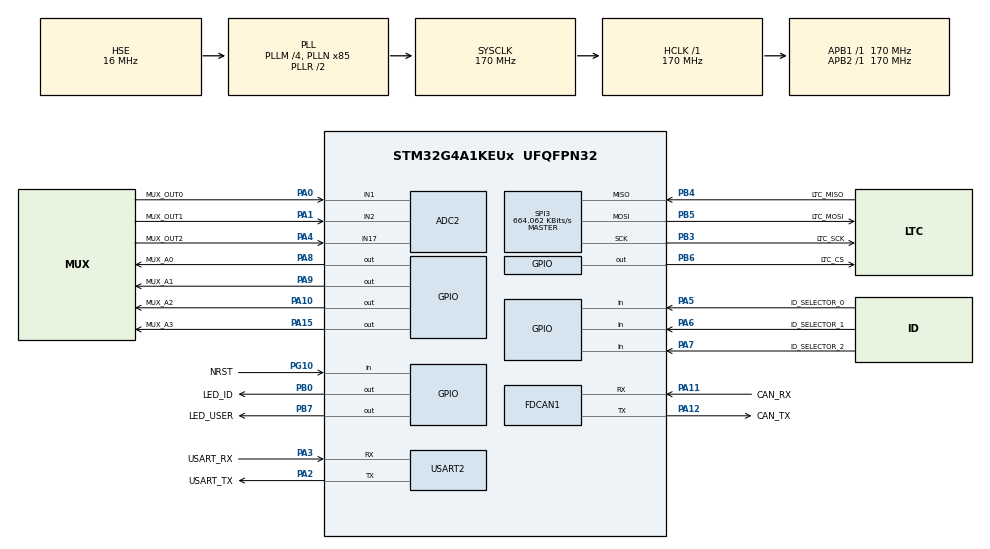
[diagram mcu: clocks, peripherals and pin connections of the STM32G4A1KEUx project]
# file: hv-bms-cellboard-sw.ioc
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ADC2.Channel-0\#ChannelRegularConversion=ADC_CHANNEL_1
ADC2.Channel-1\#ChannelRegularConversion=ADC_CHANNEL_2
ADC2.Channel-2\#ChannelRegularConversion=ADC_CHANNEL_17
ADC2.ClockPrescaler=ADC_CLOCK_ASYNC_DIV4
ADC2.EOCSelection=ADC_EOC_SEQ_CONV
ADC2.NbrOfConversion=3
ADC2.NbrOfConversionFlag=1
ADC2.OffsetNumber-0\#ChannelRegularConversion=ADC_OFFSET_NONE
ADC2.OffsetNumber-1\#ChannelRegularConversion=ADC_OFFSET_NONE
ADC2.OffsetNumber-2\#ChannelRegularConversion=ADC_OFFSET_NONE
ADC2.Rank-0\#ChannelRegularConversion=1
ADC2.Rank-1\#ChannelRegularConversion=2
ADC2.Rank-2\#ChannelRegularConversion=3
ADC2.SamplingTime-0\#ChannelRegularConversion=ADC_SAMPLETIME_12CYCLES_5
ADC2.SamplingTime-1\#ChannelRegularConversion=ADC_SAMPLETIME_12CYCLES_5
ADC2.SamplingTime-2\#ChannelRegularConversion=ADC_SAMPLETIME_12CYCLES_5
Dma.ADC2.0.Direction=DMA_PERIPH_TO_MEMORY
Dma.ADC2.0.EventEnable=DISABLE
Dma.ADC2.0.Instance=DMA1_Channel1
Dma.ADC2.0.MemDataAlignment=DMA_MDATAALIGN_HALFWORD
Dma.ADC2.0.MemInc=DMA_MINC_ENABLE
Dma.ADC2.0.Mode=DMA_CIRCULAR
Dma.ADC2.0.PeriphDataAlignment=DMA_PDATAALIGN_HALFWORD
Dma.ADC2.0.PeriphInc=DMA_PINC_DISABLE
Dma.ADC2.0.Polarity=HAL_DMAMUX_REQ_GEN_RISING
Dma.ADC2.0.Priority=DMA_PRIORITY_LOW
Dma.ADC2.0.RequestNumber=1
Dma.ADC2.0.SignalID=NONE
Dma.ADC2.0.SyncEnable=DISABLE
Dma.ADC2.0.SyncPolarity=HAL_DMAMUX_SYNC_NO_EVENT
Dma.ADC2.0.SyncRequestNumber=1
Dma.ADC2.0.SyncSignalID=NONE
Dma.Request0=ADC2
FDCAN1.CalculateBaudRateNominal=999999
FDCAN1.CalculateTimeBitNominal=1000
FDCAN1.CalculateTimeQuantumNominal=58.82352941176471
FDCAN1.DataPrescaler=5
FDCAN1.DataTimeSeg1=14
FDCAN1.DataTimeSeg2=2
FDCAN1.NominalPrescaler=5
FDCAN1.NominalTimeSeg1=14
FDCAN1.NominalTimeSeg2=2
FDCAN1.StdFiltersNbr=1
Mcu.Family=STM32G4
Mcu.Name=STM32G4A1KEUx
Mcu.Package=UFQFPN32
NVIC.DMA1_Channel1_IRQn=true\:0\:0\:false\:false\:true\:false\:true\:true
NVIC.FDCAN1_IT0_IRQn=true\:0\:0\:false\:false\:true\:true\:true\:true
NVIC.FDCAN1_IT1_IRQn=true\:0\:0\:false\:false\:true\:true\:true\:true
NVIC.PriorityGroup=NVIC_PRIORITYGROUP_4
NVIC.TIM7_IRQn=true\:0\:0\:false\:false\:true\:true\:true\:true
PA0.GPIO_Label=MUX_OUT0
PA0.Signal=SharedAnalog_PA0
PA1.GPIO_Label=MUX_OUT1
PA1.Signal=SharedAnalog_PA1
PA10.GPIO_Label=MUX_A2
PA10.Signal=GPIO_Output
PA11.GPIO_Label=CAN_RX
PA11.Mode=FDCAN_Activate
PA11.Signal=FDCAN1_RX
PA12.GPIO_Label=CAN_TX
PA12.Mode=FDCAN_Activate
PA12.Signal=FDCAN1_TX
PA13.Mode=Serial_Wire
PA13.Signal=SYS_JTMS-SWDIO
PA14.Mode=Serial_Wire
PA14.Signal=SYS_JTCK-SWCLK
PA15.GPIO_Label=MUX_A3
PA15.Signal=GPIO_Output
PA2.GPIO_Label=USART_TX
PA2.Mode=Asynchronous
PA2.Signal=USART2_TX
PA3.GPIO_Label=USART_RX
PA3.Mode=Asynchronous
PA3.Signal=USART2_RX
PA4.GPIO_Label=MUX_OUT2
PA4.Mode=IN17-Single-Ended
PA4.Signal=ADC2_IN17
PA5.GPIO_Label=ID_SELECTOR_0
PA5.Signal=GPIO_Input
PA6.GPIO_Label=ID_SELECTOR_1
PA6.Signal=GPIO_Input
PA7.GPIO_Label=ID_SELECTOR_2
PA7.Signal=GPIO_Input
PA8.GPIO_Label=MUX_A0
PA8.Signal=GPIO_Output
PA9.GPIO_Label=MUX_A1
PA9.Signal=GPIO_Output
PB0.GPIO_Label=LED_ID
PB0.Signal=GPIO_Output
PB3.GPIO_Label=LTC_SCK
PB3.Mode=Full_Duplex_Master
PB3.Signal=SPI3_SCK
PB4.GPIO_Label=LTC_MISO
PB4.Mode=Full_Duplex_Master
PB4.Signal=SPI3_MISO
PB5.GPIO_Label=LTC_MOSI
PB5.Mode=Full_Duplex_Master
PB5.Signal=SPI3_MOSI
PB6.GPIO_Label=LTC_CS
PB6.Signal=GPIO_Output
PB7.GPIO_Label=LED_USER
PB7.Signal=GPIO_Output
PF0-OSC_IN.Mode=HSE-External-Oscillator
PF0-OSC_IN.Signal=RCC_OSC_IN
PF1-OSC_OUT.Mode=HSE-External-Oscillator
PF1-OSC_OUT.Signal=RCC_OSC_OUT
PG10-NRST.GPIO_Label=NRST
PG10-NRST.GPIO_PuPd=GPIO_PULLUP
PG10-NRST.Signal=GPIO_Input
ProjectManager.HeapSize=0x200
ProjectManager.StackSize=0x400
ProjectManager.TargetToolchain=Makefile
RCC.ADC12Freq_Value=170000000
RCC.ADC345Freq_Value=170000000
RCC.AHBFreq_Value=170000000
RCC.APB1Freq_Value=170000000
RCC.APB1TimFreq_Value=170000000
RCC.APB2Freq_Value=170000000
RCC.APB2TimFreq_Value=170000000
RCC.CortexFreq_Value=170000000
RCC.EXTERNAL_CLOCK_VALUE=12288000
RCC.FDCANCLockSelection=RCC_FDCANCLKSOURCE_PLL
RCC.HCLKFreq_Value=170000000
RCC.HSE_VALUE=16000000
RCC.HSI48_VALUE=48000000
RCC.HSI_VALUE=16000000
RCC.LSE_VALUE=32768
RCC.PLLM=RCC_PLLM_DIV4
RCC.PLLN=85
RCC.PLLQ=RCC_PLLQ_DIV4
RCC.PLLSourceVirtual=RCC_PLLSOURCE_HSE
RCC.SYSCLKFreq_VALUE=170000000
RCC.SYSCLKSource=RCC_SYSCLKSOURCE_PLLCLK
RCC.USBFreq_Value=48000000
RCC.VCOOutputFreq_Value=340000000
SH.SharedAnalog_PA0.0=ADC1_IN1
SH.SharedAnalog_PA0.1=ADC2_IN1,IN1-Single-Ended
SH.SharedAnalog_PA1.0=ADC1_IN2
SH.SharedAnalog_PA1.1=ADC2_IN2,IN2-Single-Ended
SPI3.BaudRatePrescaler=SPI_BAUDRATEPRESCALER_256
SPI3.CLKPhase=SPI_PHASE_1EDGE
SPI3.CalculateBaudRate=664.062 KBits/s
SPI3.DataSize=SPI_DATASIZE_8BIT
SPI3.Direction=SPI_DIRECTION_2LINES
SPI3.Mode=SPI_MODE_MASTER
SPI3.VirtualType=VM_MASTER
TIM2.Channel-Output\ Compare1\ No\ Output=TIM_CHANNEL_1
TIM2.Prescaler=169
TIM6.Dithering=Disable
TIM7.PeriodNoDither=999
TIM7.Prescaler=169
USART2.VirtualMode-Asynchronous=VM_ASYNC
VP_SYS_VS_DBSignals.Mode=DisableDeadBatterySignals
VP_TIM2_VS_no_output1.Mode=Output Compare1 No Output
VP_TIM6_VS_ClockSourceINT.Mode=Enable_Timer
VP_TIM7_VS_ClockSourceINT.Mode=Enable_Timer
board=custom

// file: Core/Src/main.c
/* USER CODE BEGIN Header */
/**
  ******************************************************************************
  * @file           : main.c
  * @brief          : Main program body
  ******************************************************************************
  * @attention
  *
  * Copyright (c) 2024 STMicroelectronics.
  * All rights reserved.
  *
  * This software is licensed under terms that can be found in the LICENSE file
  * in the root directory of this software component.
  * If no LICENSE file comes with this software, it is provided AS-IS.
  *
  ******************************************************************************
  */
/* USER CODE END Header */
#include "main.h"
#include "adc.h"
#include "dma.h"
#include "fdcan.h"
#include "spi.h"
#include "stm32g4xx_hal.h"
#include "stm32g4xx_hal_gpio.h"
#include "tim.h"
#include "usart.h"
#include "gpio.h"

/* USER CODE BEGIN Includes */

#include <stdint.h>

#include <time.h>
#include "cellboard-conf.h"
#include "cellboard-def.h"
#include "fsm.h"
#include "stm32g4xx_it.h"
#include "post.h"
#include "eagletrt.h"

#include "temp-api.h"
#include "volt-api.h"
#include "can-communication.h"
#include "can-communication-router-api.h"

/* USER CODE END Includes */

void SystemClock_Config(void);
/* USER CODE BEGIN PFP */

void system_reset(void);

/* USER CODE END PFP */

/* USER CODE BEGIN 0 */

#ifdef CONF_DEMO_ENABLE

EAGLETRT_STATIC void demo() {
    // Put the cursor the start of the terminal
    usart_log("\033[H");

    time_t build_time = can_generation_time;
    constexpr size_t build_time_str_size = 30U;

    struct tm *tm_info = gmtime(&build_time);
    char build_time_str[build_time_str_size];
    strftime(build_time_str, sizeof(build_time_str), "%Y-%m-%d %H:%M:%S", tm_info);

    // Versioning info
    usart_log("                  --- BMS MANAGER DEMO ---\r\n");
    usart_log("Canlib version: ");
    usart_log(build_time_str);
    usart_log("\r\n");
    usart_log("Status: %s\r\n", fsm_state_names[fsm_get_status()]);
    usart_log("Cellboard ID: %d\r\n", gpio_get_cellboard_id());
    usart_log("Compilation date: %s %s\r\n", __DATE__, __TIME__);

    // Display cells voltages
    const cells_volt *const volt_values = volt_api_get_values();
    const size_t volt_cols = 6U;

    usart_log("                  --- VOLTAGE VALUES ---\r\n");
    usart_log("   ");
    for (size_t i = 0U; i < volt_cols; ++i) {
        usart_log("%5d  ", i + 1);
    }
    usart_log("\r\n");

    for (size_t i = 0U; i < CELLBOARD_SEGMENT_SERIES_COUNT / volt_cols; ++i) {
        usart_log("%3d", i * volt_cols);
        for (size_t j = 0U; j < volt_cols; ++j) {
            const size_t index = (i * volt_cols) + j;
            usart_log("%5.02f V", (*volt_values)[index]);
        }
        usart_log("\r\n");
    }
    usart_log("\r\n\r\n");

    // Display cells temperatures
    const cells_temp *const temp_values = temp_api_get_values();
    const size_t temp_cols = 6U;

    usart_log("                  --- TEMPERATURE VALUES ---\r\n");
    usart_log("   ");
    for (size_t i = 0U; i < temp_cols; ++i) {
        usart_log("%6d   ", i + 1);
    }
    usart_log("\r\n");
    for (size_t i = 0U; i < CELLBOARD_SEGMENT_TEMP_SENSOR_COUNT / temp_cols; ++i) {
        usart_log("%3d", i * temp_cols);
        for (size_t j = 0U; j < temp_cols; ++j) {
            const size_t index = (i * temp_cols) + j;
            usart_log("%6.02f °C", (*temp_values)[index]);
        }
        usart_log("\r\n");
    }
    usart_log("\r\n\r\n");

    // Display discharge temperatures
    const discharge_temp *discharge_temp_values = temp_api_get_discharge_values();

    usart_log("                  --- DISCHARGE TEMP VALUES ---\r\n");
    for (size_t i = 0U; i < CELLBOARD_SEGMENT_DISCHARGE_TEMP_COUNT; ++i) {
        usart_log("%7.02f °C", (*discharge_temp_values)[i]);
    }
    usart_log("\r\n\r\n");

    // Min Max voltage
    const volt v_min = volt_api_get_min();
    const volt v_max = volt_api_get_max();
    usart_log("                  --- VOLTAGE INFO ---\r\n");
    usart_log("Min: %.3f V\r\n", v_min);
    usart_log("Max: %.3f V\r\n", v_max);
    usart_log("Delta: %.3f V\r\n", v_max - v_min);
    usart_log("\r\n\r\n");

    // Min Max temperature
    const celsius t_min = temp_api_get_min();
    const celsius t_max = temp_api_get_max();
    usart_log("                  --- TEMPERATURE INFO ---\r\n");
    usart_log("Min: %.3f °C\r\n", t_min);
    usart_log("Max: %.3f °C\r\n", t_max);
    usart_log("\r\n\r\n");

    // Display open wire status
    usart_log("                  --- OPEN WIRE STATUS ---\r\n");

    constexpr size_t size = CELLBOARD_SEGMENT_SERIES_COUNT + 1;
    bit_flag32 open_wire_code = bms_manager_api_check_open_wire();
    usart_log("Open wire detected: %s\r\n", open_wire_code == 0U ? "NO " : "YES");
    usart_log("Cells with open wire: ");
    for (size_t i = 0U; i < size; ++i) {
        if (EAGLETRT_API_BIT_GET(open_wire_code, i)) {
            usart_log("%d  ", i);
        } else {
            usart_log("-  ");
        }
    }
    usart_log("\r\n");

#ifdef CONF_DEMO_DISCHARGE_ENABLE
    // Test discharge circuitry
    static bit_flag32 cells = 1U;
    static uint8_t cell_index = 0U;
    static uint32_t tick = 0U;
    constexpr uint32_t discharge_update_interval = 250;
    if (HAL_GetTick() - tick >= discharge_update_interval) {
        cell_index = (cell_index + 1) % CELLBOARD_SEGMENT_SERIES_COUNT;
        usart_log("Discharging cell: %d\r\n", cell_index);
        bms_manager_api_set_discharge_cells(cells);
        constexpr uint32_t cells_bit_mask = 0xFFFFFF;
        cells = (cells << 1U) & cells_bit_mask;
        if (cells == 0U) {
            cells = 1U;
        }
        tick = HAL_GetTick();
    }
#endif // CONF_DEMO_DISCHARGE_ENABLE
}

#endif // CONF_DEMO_ENABLE

#ifdef CONF_MANUAL_DISCHARGE_ENABLE

void cli_discharge(bool echo) {
    static char str[64];
    static uint8_t str_i = 0U;

    char c = usart_read(echo);
    if (c != '\0') {
        str[str_i++] = c;
    }

    if (c == '\r') {
        bit_flag32 bits = 0U;
        // parse bitmap of cells
        for (size_t i = 0; str[i] != '\r'; i++) {
            if (str[i] == '0' || str[i] == '1') {
                bits = EAGLETRT_API_BIT_TOGGLE_IF(bits, (str[i] - '0'), i);
            }
        }
        bms_manager_api_set_discharge_cells(bits);
        memset(str, 0, sizeof(str));
        str_i = 0U;
    }
}

#endif // CONF_MANUAL_DISCHARGE_ENABLE

/* USER CODE END 0 */

int main(void) {

    /* MCU Configuration--------------------------------------------------------*/

    /* Reset of all peripherals, Initializes the Flash interface and the Systick. */
    HAL_Init();

    /* Configure the system clock */
    SystemClock_Config();

    /* Initialize all configured peripherals */
    MX_GPIO_Init();
    MX_DMA_Init();
    MX_ADC2_Init();
    MX_FDCAN1_Init();
    MX_SPI3_Init();
    MX_USART2_UART_Init();
    MX_TIM6_Init();
    MX_TIM7_Init();
    MX_TIM2_Init();
    /* USER CODE BEGIN 2 */

#ifdef CONF_DEMO_ENABLE
    // Clear the screen
    usart_log("\033[2J");
#endif // CONF_DEMO_ENABLE

    /**
   * Start the timer used to increment the timebase internal counter
   */
    HAL_TIM_Base_Start_IT(&HTIM_TIMEBASE);

    fsm_state_t fsm_state = FSM_STATE_INIT;

    // Prepare data for the POST procedure
    struct PostInitData init_data = {
        .can_networks = {
            [CAN_COMMUNICATION_NETWORK_BMS] = {
                .send = fdcan_send_bms,
                .on_receive = can_communication_router_api_receive_bms,
                .cs_enter = __disable_irq,
                .cs_exit = __enable_irq,
            } },
        .system_reset = system_reset,
        .cs_enter = it_cs_enter,
        .cs_exit = it_cs_exit,
        .spi_send = spi_send,
        .spi_send_receive = spi_send_and_receive,
        .led_set = gpio_led_set_state,
        .led_toggle = gpio_led_toggle_state,
        .gpio_set_address = gpio_set_mux_address,
        .adc_start = adc_temperature_start_conversion
    };

    // Read the cellboard ID from the ADC
    init_data.id = gpio_get_cellboard_id();

    HAL_Delay(7 * init_data.id);

    usart_log("Starting main application\r\n");

    fsm_state = fsm_run_state(fsm_state, &init_data);

    usart_log("POST procedure completed, entering main loop\r\n");
    /* USER CODE END 2 */

    /* Infinite loop */
    /* USER CODE BEGIN WHILE */

    fsm_state_t last_fsm_state = fsm_state;

    // uint32_t tick = 0;
    while (1) {
        fsm_state = fsm_run_state(fsm_state, NULL);

        if (last_fsm_state != fsm_state) {
            usart_log("FSM state changed: %s -> %s\r\n", fsm_state_names[last_fsm_state], fsm_state_names[fsm_state]);
            last_fsm_state = fsm_state;
        }

        HAL_GPIO_WritePin(LED_USER_GPIO_Port, LED_USER_Pin, fsm_state == FSM_STATE_FATAL);

#ifdef CONF_MANUAL_DISCHARGE_ENABLE
        cli_discharge(true);
#endif // CONF_MANUAL_DISCHARGE_ENABLE

#ifdef CONF_DEMO_ENABLE
        static uint32_t demo_tick = 0;
        if (HAL_GetTick() - demo_tick >= 50) {
            // Enable or disable demo
            EAGLETRT_STATIC bool run_demo = false;
            if (usart_read(false) == 'd') {
                // Prevent a cell from continuous discharge after the demo is stopped
                if (run_demo) {
                    bms_manager_api_set_discharge_cells(0U);
                }
                run_demo = !run_demo;
            }

            // Run the demo
            EAGLETRT_STATIC uint32_t tick = 0U;
            constexpr uint32_t demo_run_interval = 250;
            if (run_demo && HAL_GetTick() - tick >= demo_run_interval) {
                demo();
                tick = HAL_GetTick();
            }
        }
#endif // CONF_DEMO_ENABLE

        /* USER CODE END WHILE */

        /* USER CODE BEGIN 3 */
        /*
     * while(1) {
     *     fetenderi = HIGH;
     *     bccanti = HIGH;
     * }
     *
     * */
    }
    /* USER CODE END 3 */
}

void SystemClock_Config(void) {
    RCC_OscInitTypeDef RCC_OscInitStruct = { 0 };
    RCC_ClkInitTypeDef RCC_ClkInitStruct = { 0 };

    /** Configure the main internal regulator output voltage
  */
    HAL_PWREx_ControlVoltageScaling(PWR_REGULATOR_VOLTAGE_SCALE1_BOOST);

    /** Initializes the RCC Oscillators according to the specified parameters
  * in the RCC_OscInitTypeDef structure.
  */
    RCC_OscInitStruct.OscillatorType = RCC_OSCILLATORTYPE_HSE;
    RCC_OscInitStruct.HSEState = RCC_HSE_ON;
    RCC_OscInitStruct.PLL.PLLState = RCC_PLL_ON;
    RCC_OscInitStruct.PLL.PLLSource = RCC_PLLSOURCE_HSE;
    RCC_OscInitStruct.PLL.PLLM = RCC_PLLM_DIV4;
    RCC_OscInitStruct.PLL.PLLN = 85;
    RCC_OscInitStruct.PLL.PLLP = RCC_PLLP_DIV2;
    RCC_OscInitStruct.PLL.PLLQ = RCC_PLLQ_DIV4;
    RCC_OscInitStruct.PLL.PLLR = RCC_PLLR_DIV2;
    if (HAL_RCC_OscConfig(&RCC_OscInitStruct) != HAL_OK) {
        Error_Handler();
    }

    /** Initializes the CPU, AHB and APB buses clocks
  */
    RCC_ClkInitStruct.ClockType = RCC_CLOCKTYPE_HCLK | RCC_CLOCKTYPE_SYSCLK | RCC_CLOCKTYPE_PCLK1 | RCC_CLOCKTYPE_PCLK2;
    RCC_ClkInitStruct.SYSCLKSource = RCC_SYSCLKSOURCE_PLLCLK;
    RCC_ClkInitStruct.AHBCLKDivider = RCC_SYSCLK_DIV1;
    RCC_ClkInitStruct.APB1CLKDivider = RCC_HCLK_DIV1;
    RCC_ClkInitStruct.APB2CLKDivider = RCC_HCLK_DIV1;

    if (HAL_RCC_ClockConfig(&RCC_ClkInitStruct, FLASH_LATENCY_4) != HAL_OK) {
        Error_Handler();
    }
}

/* USER CODE BEGIN 4 */

void system_reset(void) {
    HAL_NVIC_SystemReset();
}

/* USER CODE END 4 */

void Error_Handler(void) {
    __disable_irq();
    while (1) {
    }
}
